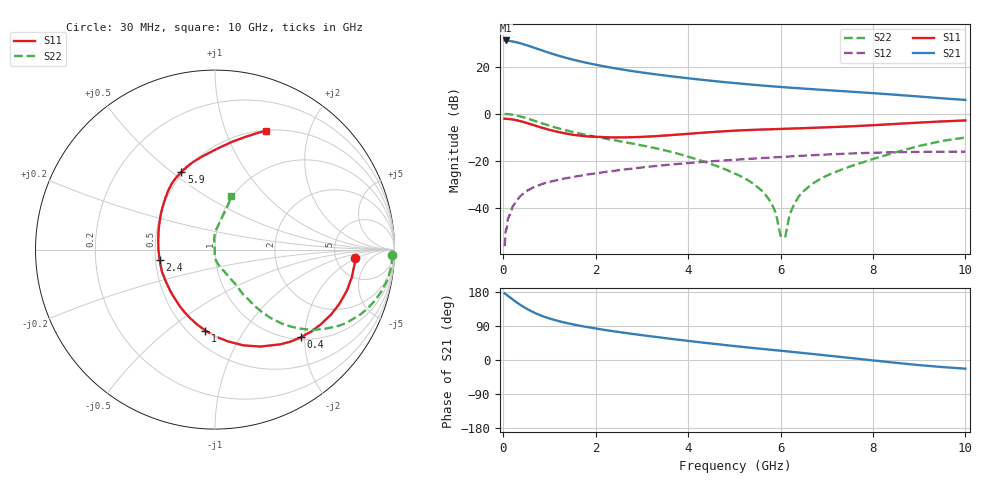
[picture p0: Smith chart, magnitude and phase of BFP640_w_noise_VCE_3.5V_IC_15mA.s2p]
! Infineon Technologies  Discrete & RF Semiconductors
! BFP640
! VCE =  3.5 V,  IC =  15 mA
! Common Emitter S-Parameters:  Apr 2013
# GHz  S  MA  R  50
!  f  S11  S21  S12  S22
! GHz  MAG  ANG  MAG  ANG  MAG  ANG  MAG  ANG
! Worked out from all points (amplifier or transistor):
!   99 points, 30 MHz to 10 GHz, reference 50 ohm
!   highest |S21| = 31.3 dB at 50 MHz (marker M1)
!   |S21| within 3 dB of that: start of sweep to 653.6 MHz
!   unconditionally stable (mu >= 1): 3.134 GHz to end of sweep
!   at 350 MHz: K = 0.22, MSG = 32.9 dB, |S12| = -35.5 dB
!   at 3.5 GHz: K = 1.02, MAG = 18.2 dB, |S12| = -21.9 dB
!   at 10 GHz: K = 1.08, MAG = 9.3 dB, |S12| = -16.1 dB
!   lowest NFmin = 0.75 dB at 450 MHz
!   S11 on the Smith chart (normalised r, x): 30 MHz: 7.81, -1.82; 400 MHz: 1.04, -1.91; 1 GHz: 0.60, -0.69; 2.4 GHz: 0.53, -0.07; 5.9 GHz: 0.49, +0.54; 10 GHz: 0.50, +1.39
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0.03  0.7835 -3.3  36.58 176.0  0.0015 73.6  0.986 -1.8
0.05  0.7822 -5.7  36.65 174.4  0.003 73.9  0.9879 -3.4
0.12  0.773 -14.2  36.02 167.6  0.0063 79.7  0.979 -8.6
0.25  0.7412 -29.2  34.1 155.8  0.0122 73.4  0.9354 -17.7
0.3  0.7228 -34.9  33.3 151.3  0.0142 73.2  0.9126 -20.9
0.4  0.6835 -45.6  31.32 143.1  0.0186 69.9  0.8595 -26.8
0.5  0.6411 -55.4  29.14 135.9  0.0223 66.2  0.8061 -31.9
0.6  0.5966 -64.9  27.06 129.2  0.0253 63.5  0.7485 -36.3
0.8  0.5173 -81.8  23.17 118.2  0.0307 58.7  0.6449 -43.0
1  0.4546 -96.7  19.93 109.6  0.0353 55.6  0.5578 -47.8
1.3  0.3885 -115.7  16.2 99.7  0.0411 52.7  0.4587 -52.1
1.7  0.3383 -137.8  12.89 89.5  0.0482 50.1  0.3714 -55.0
2.4  0.3132 -169.5  9.414 75.6  0.0608 45.9  0.2739 -58.3
3.4  0.3388 157.0  6.74 59.4  0.0787 39.6  0.1746 -62.8
4.2  0.387 137.5  5.441 47.6  0.092 33.5  0.1065 -72.3
5.1  0.4407 122.7  4.432 35.6  0.1059 26.8  0.0486 -88.2
5.9  0.4711 113.4  3.798 25.7  0.1181 21.0  0.0076 -97.3
6.1  0.4795 111.4  3.673 23.3  0.1213 19.4  0.0023 128.7
6.3  0.4866 109.2  3.556 20.8  0.1247 17.7  0.012 100.7
6.7  0.502 104.3  3.345 15.8  0.1308 14.2  0.0326 95.8
8.5  0.6086 80.9  2.543 -7.5  0.1515 -2.8  0.1517 80.5
10  0.7213 66.8  1.975 -22.9  0.1562 -14.3  0.3122 73.1
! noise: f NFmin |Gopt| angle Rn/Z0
0.45  0.75  0.16  7  0.02
0.9  0.77  0.15  15  0.02
1.5  0.79  0.12  26  0.04
1.9  0.79  0.09  43  0.04
2.4  0.82  0.13  -116  0.05
3.5  0.95  0.19  -105  0.07
5.5  1.16  0.22  -100  0.12
10  1.69  0.57  -57  0.42
